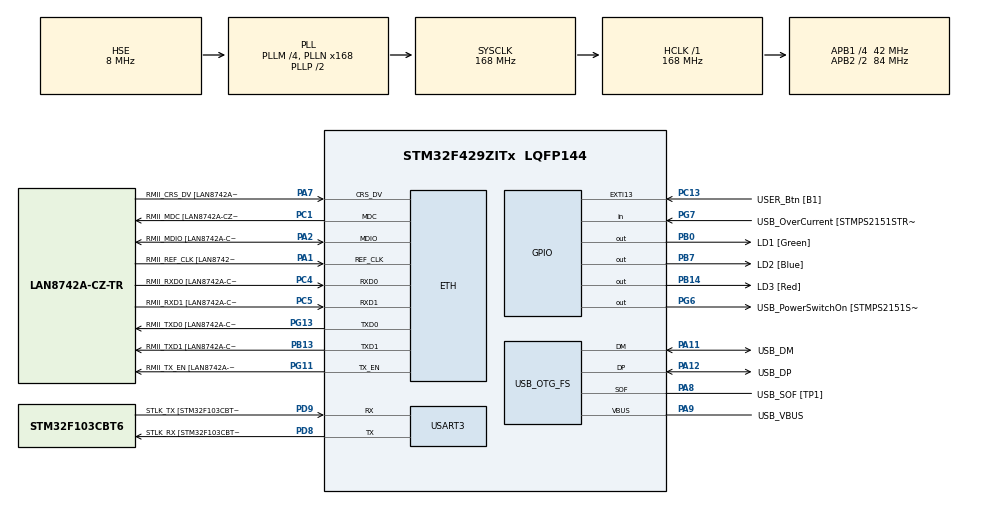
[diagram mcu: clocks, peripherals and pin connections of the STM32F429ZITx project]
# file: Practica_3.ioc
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ETH.MediaInterface=HAL_ETH_RMII_MODE
ETH.PHY_Name=LAN8742A_PHY_ADDRESS
ETH.PHY_Value=0
ETH.PhyAddress=0
Mcu.Family=STM32F4
Mcu.Name=STM32F429ZITx
Mcu.Package=LQFP144
NVIC.PriorityGroup=NVIC_PRIORITYGROUP_4
PA1.GPIO_Label=RMII_REF_CLK [LAN8742A-CZ-TR_REFCLK0]
PA1.Mode=RMII
PA1.Signal=ETH_REF_CLK
PA10.GPIO_Label=USB_ID
PA10.Signal=USB_OTG_FS_ID
PA11.GPIO_Label=USB_DM
PA11.Mode=Device_Only
PA11.Signal=USB_OTG_FS_DM
PA12.GPIO_Label=USB_DP
PA12.Mode=Device_Only
PA12.Signal=USB_OTG_FS_DP
PA13.GPIO_Label=TMS
PA13.Mode=Serial_Wire
PA13.Signal=SYS_JTMS-SWDIO
PA14.GPIO_Label=TCK
PA14.Mode=Serial_Wire
PA14.Signal=SYS_JTCK-SWCLK
PA2.GPIO_Label=RMII_MDIO [LAN8742A-CZ-TR_MDIO]
PA2.Mode=RMII
PA2.Signal=ETH_MDIO
PA7.GPIO_Label=RMII_CRS_DV [LAN8742A-CZ-TR_CRS_DV]
PA7.Mode=RMII
PA7.Signal=ETH_CRS_DV
PA8.GPIO_Label=USB_SOF [TP1]
PA8.Mode=Activate_SOF_FS
PA8.Signal=USB_OTG_FS_SOF
PA9.GPIO_Label=USB_VBUS
PA9.Mode=Activate_VBUS
PA9.Signal=USB_OTG_FS_VBUS
PB0.GPIO_Label=LD1 [Green]
PB0.Signal=GPIO_Output
PB13.GPIO_Label=RMII_TXD1 [LAN8742A-CZ-TR_TXD1]
PB13.Mode=RMII
PB13.Signal=ETH_TXD1
PB14.GPIO_Label=LD3 [Red]
PB14.Signal=GPIO_Output
PB7.GPIO_Label=LD2 [Blue]
PB7.Signal=GPIO_Output
PC1.GPIO_Label=RMII_MDC [LAN8742A-CZ-TR_MDC]
PC1.Mode=RMII
PC1.Signal=ETH_MDC
PC13.GPIO_Label=USER_Btn [B1]
PC13.Signal=GPXTI13
PC14/OSC32_IN.Mode=LSE-External-Oscillator
PC14/OSC32_IN.Signal=RCC_OSC32_IN
PC15/OSC32_OUT.Mode=LSE-External-Oscillator
PC15/OSC32_OUT.Signal=RCC_OSC32_OUT
PC4.GPIO_Label=RMII_RXD0 [LAN8742A-CZ-TR_RXD0]
PC4.Mode=RMII
PC4.Signal=ETH_RXD0
PC5.GPIO_Label=RMII_RXD1 [LAN8742A-CZ-TR_RXD1]
PC5.Mode=RMII
PC5.Signal=ETH_RXD1
PD8.GPIO_Label=STLK_RX [STM32F103CBT6_PA3]
PD8.Mode=Asynchronous
PD8.Signal=USART3_TX
PD9.GPIO_Label=STLK_TX [STM32F103CBT6_PA2]
PD9.Mode=Asynchronous
PD9.Signal=USART3_RX
PG11.GPIO_Label=RMII_TX_EN [LAN8742A-CZ-TR_TXEN]
PG11.Mode=RMII
PG11.Signal=ETH_TX_EN
PG13.GPIO_Label=RMII_TXD0 [LAN8742A-CZ-TR_TXD0]
PG13.Mode=RMII
PG13.Signal=ETH_TXD0
PG6.GPIO_Label=USB_PowerSwitchOn [STMPS2151STR_EN]
PG6.Signal=GPIO_Output
PG7.GPIO_Label=USB_OverCurrent [STMPS2151STR_FAULT]
PG7.Signal=GPIO_Input
PH0/OSC_IN.GPIO_Label=MCO [STM32F103CBT6_PA8]
PH0/OSC_IN.Mode=HSE-External-Clock-Source
PH0/OSC_IN.Signal=RCC_OSC_IN
PH1/OSC_OUT.Mode=HSE-External-Clock-Source
PH1/OSC_OUT.Signal=RCC_OSC_OUT
ProjectManager.HeapSize=0x200
ProjectManager.StackSize=0x400
ProjectManager.TargetToolchain=STM32CubeIDE
RCC.48MHZClocksFreq_Value=48000000
RCC.AHBFreq_Value=168000000
RCC.APB1CLKDivider=RCC_HCLK_DIV4
RCC.APB1Freq_Value=42000000
RCC.APB1TimFreq_Value=84000000
RCC.APB2CLKDivider=RCC_HCLK_DIV2
RCC.APB2Freq_Value=84000000
RCC.APB2TimCLKDivider=2
RCC.APB2TimFreq_Value=168000000
RCC.CortexFreq_Value=168000000
RCC.HCLKFreq_Value=168000000
RCC.HSE_VALUE=8000000
RCC.HSI_VALUE=16000000
RCC.PLLM=4
RCC.PLLMUL=RCC_PLL_MUL9
RCC.PLLN=168
RCC.PLLQ=7
RCC.PRESCALERUSB=RCC_USBCLKSOURCE_PLL_DIV1_5
RCC.SYSCLKFreq_VALUE=168000000
RCC.SYSCLKSource=RCC_SYSCLKSOURCE_PLLCLK
RCC.SYSCLKSourceVirtual=RCC_SYSCLKSOURCE_PLLCLK
RCC.USBFreq_Value=48000000
RCC.VCOOutputFreq_Value=336000000
USART3.VirtualMode=VM_ASYNC
USB_OTG_FS.VirtualMode=Device_Only
board=NUCLEO-F429ZI

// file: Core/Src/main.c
/* USER CODE BEGIN Header */
/**
  ******************************************************************************
  * @file           : main.c
  * @brief          : Main program body
  ******************************************************************************
  * @attention
  *
  * Copyright (c) 2023 STMicroelectronics.
  * All rights reserved.
  *
  * This software is licensed under terms that can be found in the LICENSE file
  * in the root directory of this software component.
  * If no LICENSE file comes with this software, it is provided AS-IS.
  *
  ******************************************************************************
  */
/* USER CODE END Header */
#include "main.h"
#include "string.h"

/* USER CODE BEGIN PD */
#define PATTERN_NUM  3
/* USER CODE END PD */

ETH_TxPacketConfig TxConfig;
ETH_DMADescTypeDef  DMARxDscrTab[ETH_RX_DESC_CNT]; /* Ethernet Rx DMA Descriptors */
ETH_DMADescTypeDef  DMATxDscrTab[ETH_TX_DESC_CNT]; /* Ethernet Tx DMA Descriptors */

ETH_HandleTypeDef heth;

UART_HandleTypeDef huart3;

PCD_HandleTypeDef hpcd_USB_OTG_FS;

/* USER CODE BEGIN PV */
delay_t delay = {0};
delay_t patternDelay = {0};
TimerPattern_t pattern1 = {0};
TimerPattern_t pattern2 = {0};
TimerPattern_t pattern3 = {0};
TimerPattern_t* arrayPattern[PATTERN_NUM];
/* USER CODE END PV */

void SystemClock_Config(void);
static void MX_GPIO_Init(void);
static void MX_ETH_Init(void);
static void MX_USART3_UART_Init(void);
static void MX_USB_OTG_FS_PCD_Init(void);
/* USER CODE BEGIN PFP */

void toggleLed1(){
	HAL_GPIO_TogglePin(GPIOB, LD1_Pin);
}

void toggleLed3(){
	HAL_GPIO_TogglePin(GPIOB, LD3_Pin);
}

/* USER CODE END PFP */

int main(void)
{

  /* MCU Configuration--------------------------------------------------------*/

  /* Reset of all peripherals, Initializes the Flash interface and the Systick. */
  HAL_Init();

  /* Configure the system clock */
  SystemClock_Config();

  /* Initialize all configured peripherals */
  MX_GPIO_Init();
  MX_ETH_Init();
  MX_USART3_UART_Init();
  MX_USB_OTG_FS_PCD_Init();
  /* USER CODE BEGIN 2 */
  setGetCurrentTickFunction(HAL_GetTick);
  delayInit(&delay,1000,true);
  delayInit(&patternDelay,1000,false);
  patternInit(&pattern1,&patternDelay,5,1000, 50, toggleLed1, toggleLed1);
  patternInit(&pattern2,&patternDelay,5,200, 50, toggleLed1, toggleLed1);
  patternInit(&pattern3,&patternDelay,5,100, 50, toggleLed1, toggleLed1);
  arrayPattern[0] = &pattern1;
  arrayPattern[1] = &pattern2;
  arrayPattern[2] = &pattern3;
  /* USER CODE END 2 */

  /* Infinite loop */
  while (1)
  {
	  if(delayRead(&delay)){
		  HAL_GPIO_TogglePin(GPIOB, LD2_Pin);
	  }
	  patternCollectionRun(arrayPattern,PATTERN_NUM,true);
  }
}

void SystemClock_Config(void)
{
  RCC_OscInitTypeDef RCC_OscInitStruct = {0};
  RCC_ClkInitTypeDef RCC_ClkInitStruct = {0};

  /** Configure the main internal regulator output voltage
  */
  __HAL_RCC_PWR_CLK_ENABLE();
  __HAL_PWR_VOLTAGESCALING_CONFIG(PWR_REGULATOR_VOLTAGE_SCALE1);

  /** Initializes the RCC Oscillators according to the specified parameters
  * in the RCC_OscInitTypeDef structure.
  */
  RCC_OscInitStruct.OscillatorType = RCC_OSCILLATORTYPE_HSE;
  RCC_OscInitStruct.HSEState = RCC_HSE_BYPASS;
  RCC_OscInitStruct.PLL.PLLState = RCC_PLL_ON;
  RCC_OscInitStruct.PLL.PLLSource = RCC_PLLSOURCE_HSE;
  RCC_OscInitStruct.PLL.PLLM = 4;
  RCC_OscInitStruct.PLL.PLLN = 168;
  RCC_OscInitStruct.PLL.PLLP = RCC_PLLP_DIV2;
  RCC_OscInitStruct.PLL.PLLQ = 7;
  if (HAL_RCC_OscConfig(&RCC_OscInitStruct) != HAL_OK)
  {
    Error_Handler();
  }

  /** Initializes the CPU, AHB and APB buses clocks
  */
  RCC_ClkInitStruct.ClockType = RCC_CLOCKTYPE_HCLK|RCC_CLOCKTYPE_SYSCLK
                              |RCC_CLOCKTYPE_PCLK1|RCC_CLOCKTYPE_PCLK2;
  RCC_ClkInitStruct.SYSCLKSource = RCC_SYSCLKSOURCE_PLLCLK;
  RCC_ClkInitStruct.AHBCLKDivider = RCC_SYSCLK_DIV1;
  RCC_ClkInitStruct.APB1CLKDivider = RCC_HCLK_DIV4;
  RCC_ClkInitStruct.APB2CLKDivider = RCC_HCLK_DIV2;

  if (HAL_RCC_ClockConfig(&RCC_ClkInitStruct, FLASH_LATENCY_5) != HAL_OK)
  {
    Error_Handler();
  }
}

static void MX_ETH_Init(void)
{

   static uint8_t MACAddr[6];

  heth.Instance = ETH;
  MACAddr[0] = 0x00;
  MACAddr[1] = 0x80;
  MACAddr[2] = 0xE1;
  MACAddr[3] = 0x00;
  MACAddr[4] = 0x00;
  MACAddr[5] = 0x00;
  heth.Init.MACAddr = &MACAddr[0];
  heth.Init.MediaInterface = HAL_ETH_RMII_MODE;
  heth.Init.TxDesc = DMATxDscrTab;
  heth.Init.RxDesc = DMARxDscrTab;
  heth.Init.RxBuffLen = 1524;

  if (HAL_ETH_Init(&heth) != HAL_OK)
  {
    Error_Handler();
  }

  memset(&TxConfig, 0 , sizeof(ETH_TxPacketConfig));
  TxConfig.Attributes = ETH_TX_PACKETS_FEATURES_CSUM | ETH_TX_PACKETS_FEATURES_CRCPAD;
  TxConfig.ChecksumCtrl = ETH_CHECKSUM_IPHDR_PAYLOAD_INSERT_PHDR_CALC;
  TxConfig.CRCPadCtrl = ETH_CRC_PAD_INSERT;

}

static void MX_USART3_UART_Init(void)
{

  huart3.Instance = USART3;
  huart3.Init.BaudRate = 115200;
  huart3.Init.WordLength = UART_WORDLENGTH_8B;
  huart3.Init.StopBits = UART_STOPBITS_1;
  huart3.Init.Parity = UART_PARITY_NONE;
  huart3.Init.Mode = UART_MODE_TX_RX;
  huart3.Init.HwFlowCtl = UART_HWCONTROL_NONE;
  huart3.Init.OverSampling = UART_OVERSAMPLING_16;
  if (HAL_UART_Init(&huart3) != HAL_OK)
  {
    Error_Handler();
  }

}

static void MX_USB_OTG_FS_PCD_Init(void)
{

  hpcd_USB_OTG_FS.Instance = USB_OTG_FS;
  hpcd_USB_OTG_FS.Init.dev_endpoints = 4;
  hpcd_USB_OTG_FS.Init.speed = PCD_SPEED_FULL;
  hpcd_USB_OTG_FS.Init.dma_enable = DISABLE;
  hpcd_USB_OTG_FS.Init.phy_itface = PCD_PHY_EMBEDDED;
  hpcd_USB_OTG_FS.Init.Sof_enable = ENABLE;
  hpcd_USB_OTG_FS.Init.low_power_enable = DISABLE;
  hpcd_USB_OTG_FS.Init.lpm_enable = DISABLE;
  hpcd_USB_OTG_FS.Init.vbus_sensing_enable = ENABLE;
  hpcd_USB_OTG_FS.Init.use_dedicated_ep1 = DISABLE;
  if (HAL_PCD_Init(&hpcd_USB_OTG_FS) != HAL_OK)
  {
    Error_Handler();
  }

}

static void MX_GPIO_Init(void)
{
  GPIO_InitTypeDef GPIO_InitStruct = {0};

  /* GPIO Ports Clock Enable */
  __HAL_RCC_GPIOC_CLK_ENABLE();
  __HAL_RCC_GPIOH_CLK_ENABLE();
  __HAL_RCC_GPIOA_CLK_ENABLE();
  __HAL_RCC_GPIOB_CLK_ENABLE();
  __HAL_RCC_GPIOD_CLK_ENABLE();
  __HAL_RCC_GPIOG_CLK_ENABLE();

  /*Configure GPIO pin Output Level */
  HAL_GPIO_WritePin(GPIOB, LD1_Pin|LD3_Pin|LD2_Pin, GPIO_PIN_RESET);

  /*Configure GPIO pin Output Level */
  HAL_GPIO_WritePin(USB_PowerSwitchOn_GPIO_Port, USB_PowerSwitchOn_Pin, GPIO_PIN_RESET);

  /*Configure GPIO pin : USER_Btn_Pin */
  GPIO_InitStruct.Pin = USER_Btn_Pin;
  GPIO_InitStruct.Mode = GPIO_MODE_IT_RISING;
  GPIO_InitStruct.Pull = GPIO_NOPULL;
  HAL_GPIO_Init(USER_Btn_GPIO_Port, &GPIO_InitStruct);

  /*Configure GPIO pins : LD1_Pin LD3_Pin LD2_Pin */
  GPIO_InitStruct.Pin = LD1_Pin|LD3_Pin|LD2_Pin;
  GPIO_InitStruct.Mode = GPIO_MODE_OUTPUT_PP;
  GPIO_InitStruct.Pull = GPIO_NOPULL;
  GPIO_InitStruct.Speed = GPIO_SPEED_FREQ_LOW;
  HAL_GPIO_Init(GPIOB, &GPIO_InitStruct);

  /*Configure GPIO pin : USB_PowerSwitchOn_Pin */
  GPIO_InitStruct.Pin = USB_PowerSwitchOn_Pin;
  GPIO_InitStruct.Mode = GPIO_MODE_OUTPUT_PP;
  GPIO_InitStruct.Pull = GPIO_NOPULL;
  GPIO_InitStruct.Speed = GPIO_SPEED_FREQ_LOW;
  HAL_GPIO_Init(USB_PowerSwitchOn_GPIO_Port, &GPIO_InitStruct);

  /*Configure GPIO pin : USB_OverCurrent_Pin */
  GPIO_InitStruct.Pin = USB_OverCurrent_Pin;
  GPIO_InitStruct.Mode = GPIO_MODE_INPUT;
  GPIO_InitStruct.Pull = GPIO_NOPULL;
  HAL_GPIO_Init(USB_OverCurrent_GPIO_Port, &GPIO_InitStruct);

}

void Error_Handler(void)
{
  __disable_irq();
  while (1)
  {
  }
}
